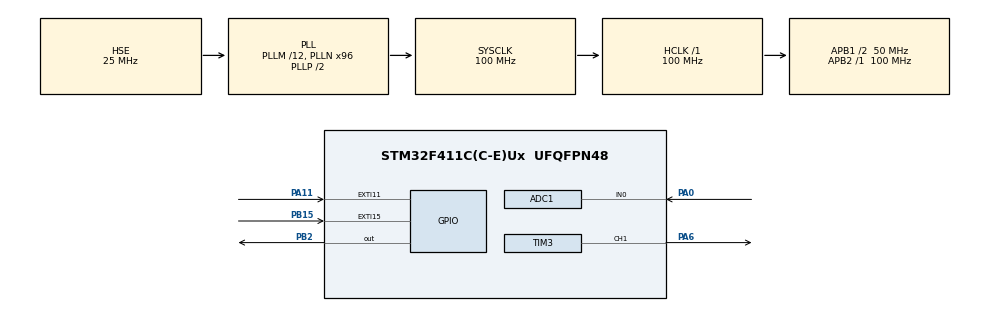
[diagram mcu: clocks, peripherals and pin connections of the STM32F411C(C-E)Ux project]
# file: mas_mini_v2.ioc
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ADC1.Channel-0\#ChannelRegularConversion=ADC_CHANNEL_0
ADC1.ContinuousConvMode=ENABLE
ADC1.NbrOfConversionFlag=1
ADC1.Rank-0\#ChannelRegularConversion=1
ADC1.SamplingTime-0\#ChannelRegularConversion=ADC_SAMPLETIME_3CYCLES
ADC1.master=1
Mcu.Family=STM32F4
Mcu.Name=STM32F411C(C-E)Ux
Mcu.Package=UFQFPN48
NVIC.ADC_IRQn=true\:0\:0\:false\:false\:true\:true\:true\:true
NVIC.EXTI15_10_IRQn=true\:0\:0\:false\:false\:true\:true\:true\:true
NVIC.PriorityGroup=NVIC_PRIORITYGROUP_4
NVIC.TIM3_IRQn=true\:0\:0\:false\:false\:true\:true\:true\:true
PA0-WKUP.Signal=ADCx_IN0
PA11.GPIO_PuPd=GPIO_PULLDOWN
PA11.Signal=GPXTI11
PA13.Mode=Serial_Wire
PA13.Signal=SYS_JTMS-SWDIO
PA14.Mode=Serial_Wire
PA14.Signal=SYS_JTCK-SWCLK
PA6.Signal=S_TIM3_CH1
PB15.GPIO_ModeDefaultEXTI=GPIO_MODE_IT_FALLING
PB15.GPIO_PuPd=GPIO_PULLUP
PB15.Signal=GPXTI15
PB2.Signal=GPIO_Output
PC14-OSC32_IN.Mode=LSE-External-Oscillator
PC14-OSC32_IN.Signal=RCC_OSC32_IN
PC15-OSC32_OUT.Mode=LSE-External-Oscillator
PC15-OSC32_OUT.Signal=RCC_OSC32_OUT
PH0\ -\ OSC_IN.Mode=HSE-External-Oscillator
PH0\ -\ OSC_IN.Signal=RCC_OSC_IN
PH1\ -\ OSC_OUT.Mode=HSE-External-Oscillator
PH1\ -\ OSC_OUT.Signal=RCC_OSC_OUT
ProjectManager.HeapSize=0x200
ProjectManager.StackSize=0x400
ProjectManager.TargetToolchain=STM32CubeIDE
RCC.48MHZClocksFreq_Value=50000000
RCC.AHBFreq_Value=100000000
RCC.APB1CLKDivider=RCC_HCLK_DIV2
RCC.APB1Freq_Value=50000000
RCC.APB1TimFreq_Value=100000000
RCC.APB2Freq_Value=100000000
RCC.APB2TimFreq_Value=100000000
RCC.CortexFreq_Value=100000000
RCC.HCLKFreq_Value=100000000
RCC.HSE_VALUE=25000000
RCC.HSI_VALUE=16000000
RCC.PLLM=12
RCC.PLLN=96
RCC.PLLSourceVirtual=RCC_PLLSOURCE_HSE
RCC.SYSCLKFreq_VALUE=100000000
RCC.SYSCLKSource=RCC_SYSCLKSOURCE_PLLCLK
RCC.VCOOutputFreq_Value=200000000
SH.ADCx_IN0.0=ADC1_IN0,IN0
SH.S_TIM3_CH1.0=TIM3_CH1,PWM Generation1 CH1
TIM3.Channel-PWM\ Generation1\ CH1=TIM_CHANNEL_1
TIM3.Period=50000-1
TIM3.Prescaler=2-1
board=custom

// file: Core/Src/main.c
/* USER CODE BEGIN Header */
/**
  ******************************************************************************
  * @file           : main.c
  * @brief          : Main program body
  ******************************************************************************
  * @attention
  *
  * Copyright (c) 2022 STMicroelectronics.
  * All rights reserved.
  *
  * This software is licensed under terms that can be found in the LICENSE file
  * in the root directory of this software component.
  * If no LICENSE file comes with this software, it is provided AS-IS.
  *
  ******************************************************************************
  */
/* USER CODE END Header */
#include "main.h"

ADC_HandleTypeDef hadc1;

TIM_HandleTypeDef htim3;

/* USER CODE BEGIN PV */
uint16_t adc = 0;
uint16_t rev = 0;
uint16_t duty = 0;
uint16_t duty_previous = 0;
uint16_t value = 0;

uint32_t time_key1_current = 0;
uint32_t time_key1_previous = 0;
/* USER CODE END PV */

void SystemClock_Config(void);
static void MX_GPIO_Init(void);
static void MX_ADC1_Init(void);
static void MX_TIM3_Init(void);

/* USER CODE BEGIN 0 */

void PWM_Speed(void)
{
	if (adc < 20){ duty = 0; }
	if (adc >= 20 && adc < 205) { duty = 15000; }
	if (adc >= 205 && adc < 410) { duty = 16750; }
	if (adc >= 410 && adc < 615) { duty = 18500; }
	if (adc >= 615 && adc < 820) { duty = 20250; }
	if (adc >= 820 && adc < 1024) { duty = 22000; }
	if (adc >= 1024 && adc < 1229) { duty = 23750; }
	if (adc >= 1229 && adc < 1434) { duty = 25500; }
	if (adc >= 1434 && adc < 1638) { duty = 27250; }
	if (adc >= 1638 && adc < 1843) { duty = 29000; }
	if (adc >= 1843 && adc < 2048) { duty = 30750; }
	if (adc >= 2048 && adc < 2253) { duty = 32500; }
	if (adc >= 2253 && adc < 2457) { duty = 34250; }
	if (adc >= 2457 && adc < 2662) { duty = 36000; }
	if (adc >= 2662 && adc < 2867) { duty = 37750; }
	if (adc >= 2867 && adc < 3072) { duty = 39500; }
	if (adc >= 3072 && adc < 3276) { duty = 41250; }
	if (adc >= 3276 && adc < 3481) { duty = 43000; }
	if (adc >= 3481 && adc < 3686) { duty = 44750; }
	if (adc >= 3686 && adc < 3891) { duty = 46500; }
	if (adc >= 3891) { duty = 50000; }

}

void HAL_GPIO_EXTI_Callback(uint16_t GPIO_Pin)
{
		time_key1_current = HAL_GetTick();

    if (GPIO_Pin == GPIO_PIN_15 && (time_key1_current - time_key1_previous > 300)){
			rev++;
			duty_previous = duty;
			HAL_GPIO_TogglePin(GPIOB, GPIO_PIN_2);
			time_key1_previous = time_key1_current;
		}
}

void HAL_ADC_ConvCpltCallback(ADC_HandleTypeDef* hadc)
{
  if(hadc->Instance == ADC1) //check if the interrupt comes from ACD1
   {
		adc = HAL_ADC_GetValue(&hadc1);
		value = adc * 12;
   }
}

/* USER CODE END 0 */

int main(void)
{

  /* MCU Configuration--------------------------------------------------------*/

  /* Reset of all peripherals, Initializes the Flash interface and the Systick. */
  HAL_Init();

  /* Configure the system clock */
  SystemClock_Config();

  /* Initialize all configured peripherals */
  MX_GPIO_Init();
  MX_ADC1_Init();
  MX_TIM3_Init();
  /* USER CODE BEGIN 2 */
	HAL_GPIO_WritePin(GPIOB, GPIO_PIN_2, GPIO_PIN_SET);
	HAL_TIM_Base_Start(&htim3);
	HAL_TIM_PWM_Start(&htim3,TIM_CHANNEL_1);
	HAL_ADC_Start_IT(&hadc1);
  /* USER CODE END 2 */

  /* Infinite loop */
  while (1)
  {

    /* USER CODE BEGIN 3 */

		HAL_ADC_PollForConversion(&hadc1, HAL_MAX_DELAY);
		PWM_Speed();

		__HAL_TIM_SetCompare(&htim3, TIM_CHANNEL_1, duty);

		if (rev > 0){
			duty = 0;
			__HAL_TIM_SetCompare(&htim3, TIM_CHANNEL_1, duty);
			HAL_Delay(1500);
			duty = duty_previous;
			rev = 0;
		}
  }
  /* USER CODE END 3 */
}

void SystemClock_Config(void)
{
  RCC_OscInitTypeDef RCC_OscInitStruct = {0};
  RCC_ClkInitTypeDef RCC_ClkInitStruct = {0};

  /** Configure the main internal regulator output voltage
  */
  __HAL_RCC_PWR_CLK_ENABLE();
  __HAL_PWR_VOLTAGESCALING_CONFIG(PWR_REGULATOR_VOLTAGE_SCALE1);

  /** Initializes the RCC Oscillators according to the specified parameters
  * in the RCC_OscInitTypeDef structure.
  */
  RCC_OscInitStruct.OscillatorType = RCC_OSCILLATORTYPE_HSE;
  RCC_OscInitStruct.HSEState = RCC_HSE_ON;
  RCC_OscInitStruct.PLL.PLLState = RCC_PLL_ON;
  RCC_OscInitStruct.PLL.PLLSource = RCC_PLLSOURCE_HSE;
  RCC_OscInitStruct.PLL.PLLM = 12;
  RCC_OscInitStruct.PLL.PLLN = 96;
  RCC_OscInitStruct.PLL.PLLP = RCC_PLLP_DIV2;
  RCC_OscInitStruct.PLL.PLLQ = 4;
  if (HAL_RCC_OscConfig(&RCC_OscInitStruct) != HAL_OK)
  {
    Error_Handler();
  }

  /** Initializes the CPU, AHB and APB buses clocks
  */
  RCC_ClkInitStruct.ClockType = RCC_CLOCKTYPE_HCLK|RCC_CLOCKTYPE_SYSCLK
                              |RCC_CLOCKTYPE_PCLK1|RCC_CLOCKTYPE_PCLK2;
  RCC_ClkInitStruct.SYSCLKSource = RCC_SYSCLKSOURCE_PLLCLK;
  RCC_ClkInitStruct.AHBCLKDivider = RCC_SYSCLK_DIV1;
  RCC_ClkInitStruct.APB1CLKDivider = RCC_HCLK_DIV2;
  RCC_ClkInitStruct.APB2CLKDivider = RCC_HCLK_DIV1;

  if (HAL_RCC_ClockConfig(&RCC_ClkInitStruct, FLASH_LATENCY_3) != HAL_OK)
  {
    Error_Handler();
  }
}

static void MX_ADC1_Init(void)
{

  ADC_ChannelConfTypeDef sConfig = {0};

  /** Configure the global features of the ADC (Clock, Resolution, Data Alignment and number of conversion)
  */
  hadc1.Instance = ADC1;
  hadc1.Init.ClockPrescaler = ADC_CLOCK_SYNC_PCLK_DIV8;
  hadc1.Init.Resolution = ADC_RESOLUTION_12B;
  hadc1.Init.ScanConvMode = DISABLE;
  hadc1.Init.ContinuousConvMode = ENABLE;
  hadc1.Init.DiscontinuousConvMode = DISABLE;
  hadc1.Init.ExternalTrigConvEdge = ADC_EXTERNALTRIGCONVEDGE_NONE;
  hadc1.Init.ExternalTrigConv = ADC_SOFTWARE_START;
  hadc1.Init.DataAlign = ADC_DATAALIGN_RIGHT;
  hadc1.Init.NbrOfConversion = 1;
  hadc1.Init.DMAContinuousRequests = DISABLE;
  hadc1.Init.EOCSelection = ADC_EOC_SINGLE_CONV;
  if (HAL_ADC_Init(&hadc1) != HAL_OK)
  {
    Error_Handler();
  }

  /** Configure for the selected ADC regular channel its corresponding rank in the sequencer and its sample time.
  */
  sConfig.Channel = ADC_CHANNEL_0;
  sConfig.Rank = 1;
  sConfig.SamplingTime = ADC_SAMPLETIME_112CYCLES;
  if (HAL_ADC_ConfigChannel(&hadc1, &sConfig) != HAL_OK)
  {
    Error_Handler();
  }

}

static void MX_TIM3_Init(void)
{

  TIM_MasterConfigTypeDef sMasterConfig = {0};
  TIM_OC_InitTypeDef sConfigOC = {0};

  htim3.Instance = TIM3;
  htim3.Init.Prescaler = 2-1;
  htim3.Init.CounterMode = TIM_COUNTERMODE_UP;
  htim3.Init.Period = 50000-1;
  htim3.Init.ClockDivision = TIM_CLOCKDIVISION_DIV1;
  htim3.Init.AutoReloadPreload = TIM_AUTORELOAD_PRELOAD_DISABLE;
  if (HAL_TIM_PWM_Init(&htim3) != HAL_OK)
  {
    Error_Handler();
  }
  sMasterConfig.MasterOutputTrigger = TIM_TRGO_RESET;
  sMasterConfig.MasterSlaveMode = TIM_MASTERSLAVEMODE_DISABLE;
  if (HAL_TIMEx_MasterConfigSynchronization(&htim3, &sMasterConfig) != HAL_OK)
  {
    Error_Handler();
  }
  sConfigOC.OCMode = TIM_OCMODE_PWM1;
  sConfigOC.Pulse = 0;
  sConfigOC.OCPolarity = TIM_OCPOLARITY_HIGH;
  sConfigOC.OCFastMode = TIM_OCFAST_DISABLE;
  if (HAL_TIM_PWM_ConfigChannel(&htim3, &sConfigOC, TIM_CHANNEL_1) != HAL_OK)
  {
    Error_Handler();
  }
  HAL_TIM_MspPostInit(&htim3);

}

static void MX_GPIO_Init(void)
{
  GPIO_InitTypeDef GPIO_InitStruct = {0};

  /* GPIO Ports Clock Enable */
  __HAL_RCC_GPIOC_CLK_ENABLE();
  __HAL_RCC_GPIOH_CLK_ENABLE();
  __HAL_RCC_GPIOA_CLK_ENABLE();
  __HAL_RCC_GPIOB_CLK_ENABLE();

  /*Configure GPIO pin Output Level */
  HAL_GPIO_WritePin(GPIOB, GPIO_PIN_2, GPIO_PIN_RESET);

  /*Configure GPIO pin : PB2 */
  GPIO_InitStruct.Pin = GPIO_PIN_2;
  GPIO_InitStruct.Mode = GPIO_MODE_OUTPUT_PP;
  GPIO_InitStruct.Pull = GPIO_NOPULL;
  GPIO_InitStruct.Speed = GPIO_SPEED_FREQ_LOW;
  HAL_GPIO_Init(GPIOB, &GPIO_InitStruct);

  /*Configure GPIO pin : PB15 */
  GPIO_InitStruct.Pin = GPIO_PIN_15;
  GPIO_InitStruct.Mode = GPIO_MODE_IT_FALLING;
  GPIO_InitStruct.Pull = GPIO_PULLUP;
  HAL_GPIO_Init(GPIOB, &GPIO_InitStruct);

  /*Configure GPIO pin : PA11 */
  GPIO_InitStruct.Pin = GPIO_PIN_11;
  GPIO_InitStruct.Mode = GPIO_MODE_IT_RISING;
  GPIO_InitStruct.Pull = GPIO_PULLDOWN;
  HAL_GPIO_Init(GPIOA, &GPIO_InitStruct);

  /* EXTI interrupt init*/
  HAL_NVIC_SetPriority(EXTI15_10_IRQn, 0, 0);
  HAL_NVIC_EnableIRQ(EXTI15_10_IRQn);

}

void Error_Handler(void)
{
  __disable_irq();
  while (1)
  {
  }
}
